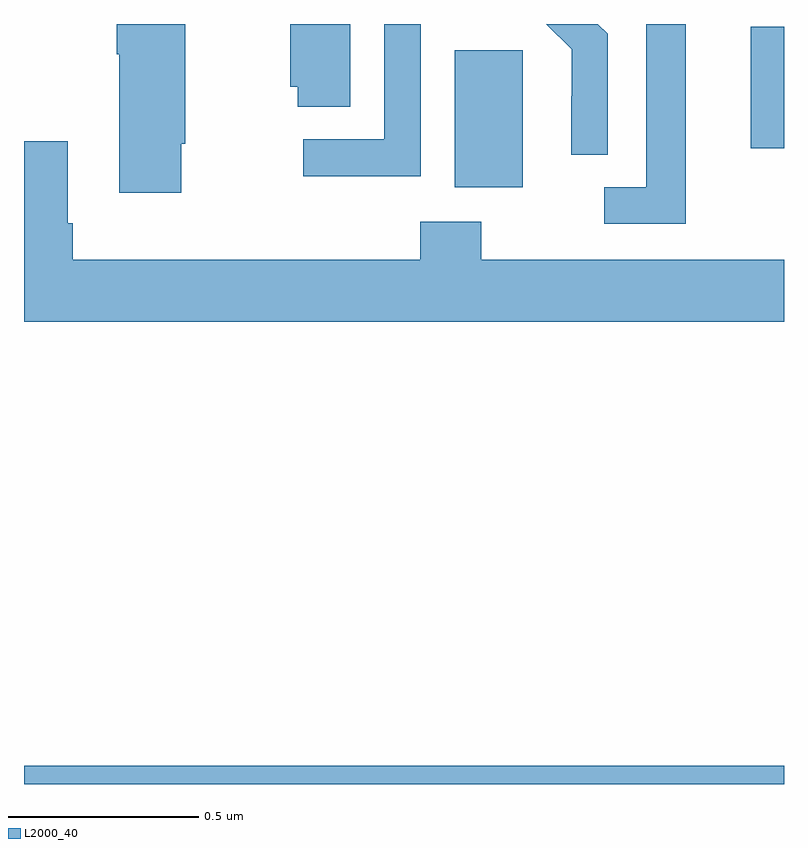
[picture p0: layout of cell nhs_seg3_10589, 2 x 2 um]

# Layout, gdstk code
import gdstk
lib = gdstk.Library(unit=1e-6, precision=1e-09)
def R(c, l, rs):  # rectangles x0, y0, x1, y1
    for r in rs: c.add(gdstk.rectangle(r[:2], r[2:], *l))
def P(c, l, *ps):  # polygons
    for p in ps: c.add(gdstk.Polygon(p, *l))
L2000_40 = (2000, 40)

nhs_seg3_10589 = lib.new_cell('nhs_seg3_10589')
R(nhs_seg3_10589, L2000_40, [(243,666.4,245,666.448), (244.133,667.97,244.312,668.331), (244.913,668.073,245,668.393)])
P(nhs_seg3_10589, L2000_40, [(243.414,668.085),(243.424,668.085),(243.424,668.4),(243.244,668.4),(243.244,668.321),(243.251,668.321),(243.251,667.956),(243.414,667.956)],
  [(244.741,668.4),(244.637,668.4),(244.637,667.971),(244.527,667.971),(244.527,667.875),(244.741,667.875)],
  [(244.044,668.4),(243.948,668.4),(243.948,668.097),(243.735,668.097),(243.735,667.999),(244.044,667.999)],
  [(244.536,668.374),(244.51,668.4),(244.374,668.4),(244.442,668.333),(244.442,668.21),(244.44,668.21),(244.44,668.056),(244.536,668.056)],
  [(243.859,668.4),(243.701,668.4),(243.701,668.235),(243.721,668.235),(243.721,668.182),(243.859,668.182)],
  [(245,667.78),(244.203,667.78),(244.203,667.879),(244.043,667.879),(244.043,667.78),(243.128,667.78),(243.128,667.876),(243.115,667.876),(243.115,668.092),(243,668.092),(243,667.616),(245,667.616)])

lib.write_gds('nhs_seg3_10589.gds')
